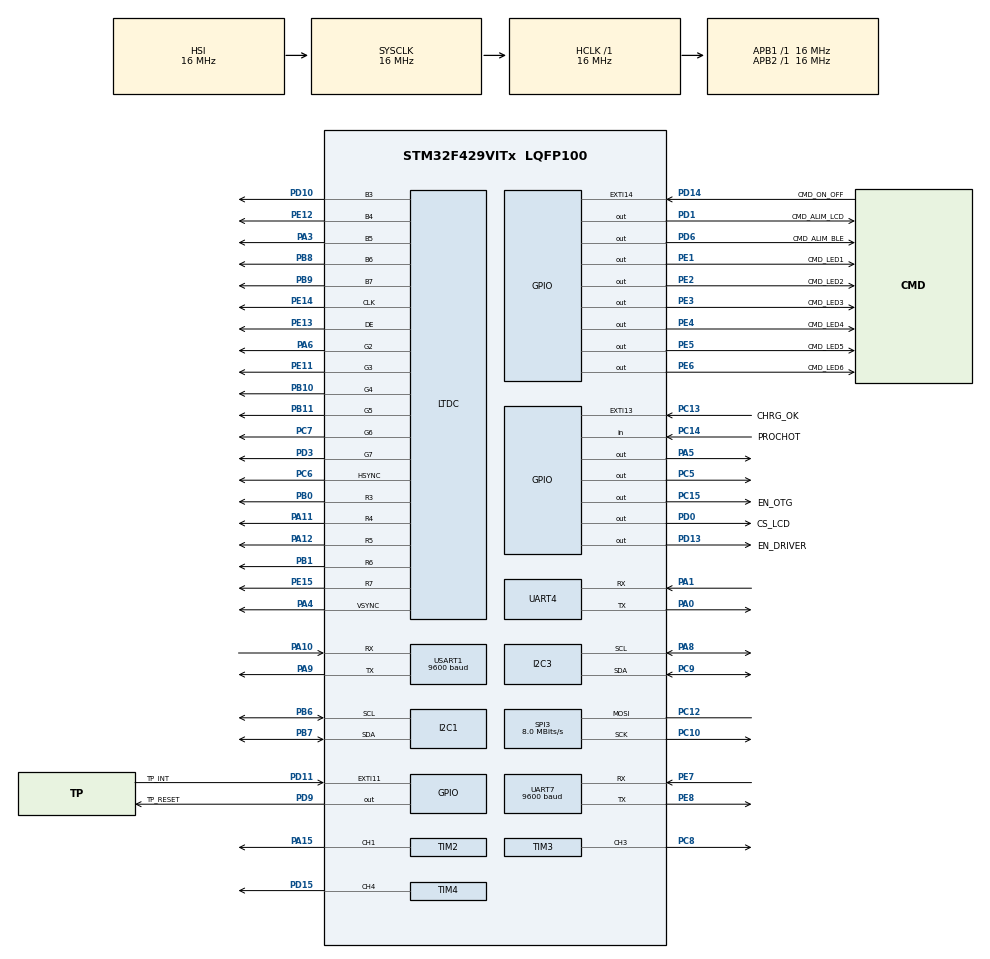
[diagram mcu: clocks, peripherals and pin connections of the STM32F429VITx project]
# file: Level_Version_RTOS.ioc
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DMA2D.ColorMode=DMA2D_OUTPUT_RGB565
FREERTOS.Tasks01=defaultTask,0,2048,StartDefaultTask,Default,NULL,Dynamic,NULL,NULL
LTDC.ActiveH=320
LTDC.ActiveW=240
LTDC.Alpha0_L0=255
LTDC.Alpha_L0=255
LTDC.FBStartAdress_L0=0x00000000
LTDC.HBP=10
LTDC.HFP=20
LTDC.HSync=10
LTDC.ImageHeight_L0=320
LTDC.ImageWidth_L0=240
LTDC.Layers=0
LTDC.PixelFormat_L0=LTDC_PIXEL_FORMAT_RGB565
LTDC.VBP=2
LTDC.VFP=4
LTDC.VSync=2
LTDC.WindowX1_L0=240
LTDC.WindowY1_L0=320
Mcu.Family=STM32F4
Mcu.Name=STM32F429VITx
Mcu.Package=LQFP100
NVIC.DMA2D_IRQn=true\:5\:0\:false\:false\:true\:true\:true\:true
NVIC.EXTI15_10_IRQn=true\:5\:0\:false\:false\:true\:true\:true\:true
NVIC.LTDC_IRQn=true\:5\:0\:false\:false\:true\:true\:true\:true
NVIC.PriorityGroup=NVIC_PRIORITYGROUP_4
NVIC.TIM1_UP_TIM10_IRQn=true\:0\:0\:false\:false\:true\:false\:false\:true
NVIC.TimeBase=TIM1_UP_TIM10_IRQn
NVIC.TimeBaseIP=TIM1
NVIC.UART7_IRQn=true\:5\:0\:false\:false\:true\:true\:true\:true
NVIC.USART1_IRQn=true\:5\:0\:false\:false\:true\:true\:true\:true
PA0/WKUP.Mode=Asynchronous
PA0/WKUP.Signal=UART4_TX
PA1.Mode=Asynchronous
PA1.Signal=UART4_RX
PA10.Mode=Asynchronous
PA10.Signal=USART1_RX
PA11.Mode=RGB565
PA11.Signal=LTDC_R4
PA12.Mode=RGB565
PA12.Signal=LTDC_R5
PA15.Signal=S_TIM2_CH1_ETR
PA3.Mode=RGB565
PA3.Signal=LTDC_B5
PA4.Mode=RGB565
PA4.Signal=LTDC_VSYNC
PA5.Signal=GPIO_Output
PA6.Mode=RGB565
PA6.Signal=LTDC_G2
PA8.Mode=I2C
PA8.Signal=I2C3_SCL
PA9.Mode=Asynchronous
PA9.Signal=USART1_TX
PB0.Mode=RGB565
PB0.Signal=LTDC_R3
PB1.Mode=RGB565
PB1.Signal=LTDC_R6
PB10.Mode=RGB565
PB10.Signal=LTDC_G4
PB11.Mode=RGB565
PB11.Signal=LTDC_G5
PB6.Mode=I2C
PB6.Signal=I2C1_SCL
PB7.Mode=I2C
PB7.Signal=I2C1_SDA
PB8.Mode=RGB565
PB8.Signal=LTDC_B6
PB9.Mode=RGB565
PB9.Signal=LTDC_B7
PC10.Mode=Simplex_Bidirectional_Master
PC10.Signal=SPI3_SCK
PC12.Mode=Simplex_Bidirectional_Master
PC12.Signal=SPI3_MOSI
PC13.GPIO_Label=CHRG_OK
PC13.Signal=GPXTI13
PC14/OSC32_IN.GPIO_Label=PROCHOT
PC14/OSC32_IN.Signal=GPIO_Input
PC15/OSC32_OUT.GPIO_Label=EN_OTG
PC15/OSC32_OUT.Signal=GPIO_Output
PC5.Signal=GPIO_Output
PC6.Mode=RGB565
PC6.Signal=LTDC_HSYNC
PC7.Mode=RGB565
PC7.Signal=LTDC_G6
PC8.Signal=S_TIM3_CH3
PC9.Mode=I2C
PC9.Signal=I2C3_SDA
PD0.GPIO_Label=CS_LCD
PD0.Signal=GPIO_Output
PD1.GPIO_Label=CMD_ALIM_LCD
PD1.Signal=GPIO_Output
PD10.Mode=RGB565
PD10.Signal=LTDC_B3
PD11.GPIO_Label=TP_INT
PD11.Signal=GPXTI11
PD13.GPIO_Label=EN_DRIVER
PD13.Signal=GPIO_Output
PD14.GPIO_Label=CMD_ON_OFF
PD14.GPIO_ModeDefaultEXTI=GPIO_MODE_IT_RISING_FALLING
PD14.Signal=GPXTI14
PD15.Signal=S_TIM4_CH4
PD3.Mode=RGB565
PD3.Signal=LTDC_G7
PD6.GPIO_Label=CMD_ALIM_BLE
PD6.Signal=GPIO_Output
PD9.GPIO_Label=TP_RESET
PD9.Signal=GPIO_Output
PE1.GPIO_Label=CMD_LED1
PE1.Signal=GPIO_Output
PE11.Mode=RGB565
PE11.Signal=LTDC_G3
PE12.Mode=RGB565
PE12.Signal=LTDC_B4
PE13.Mode=RGB565
PE13.Signal=LTDC_DE
PE14.Mode=RGB565
PE14.Signal=LTDC_CLK
PE15.Mode=RGB565
PE15.Signal=LTDC_R7
PE2.GPIO_Label=CMD_LED2
PE2.Signal=GPIO_Output
PE3.GPIO_Label=CMD_LED3
PE3.Signal=GPIO_Output
PE4.GPIO_Label=CMD_LED4
PE4.Signal=GPIO_Output
PE5.GPIO_Label=CMD_LED5
PE5.Signal=GPIO_Output
PE6.GPIO_Label=CMD_LED6
PE6.Signal=GPIO_Output
PE7.Mode=Asynchronous
PE7.Signal=UART7_RX
PE8.Mode=Asynchronous
PE8.Signal=UART7_TX
PH0/OSC_IN.Mode=HSE-External-Oscillator
PH0/OSC_IN.Signal=RCC_OSC_IN
PH1/OSC_OUT.Mode=HSE-External-Oscillator
PH1/OSC_OUT.Signal=RCC_OSC_OUT
ProjectManager.HeapSize=0x200
ProjectManager.StackSize=0x400
ProjectManager.TargetToolchain=STM32CubeIDE
RCC.48MHZClocksFreq_Value=96000000
RCC.AHBFreq_Value=16000000
RCC.APB1Freq_Value=16000000
RCC.APB2Freq_Value=16000000
RCC.CortexFreq_Value=16000000
RCC.HSE_VALUE=25000000
RCC.HSI_VALUE=16000000
RCC.LSE_VALUE=32768
RCC.PLLM=8
RCC.PLLSAIN=60
RCC.PLLSAIR=5
RCC.SYSCLKFreq_VALUE=16000000
RCC.VCOOutputFreq_Value=384000000
SH.S_TIM2_CH1_ETR.0=TIM2_CH1,PWM Generation1 CH1
SH.S_TIM3_CH3.0=TIM3_CH3,PWM Generation3 CH3
SH.S_TIM4_CH4.0=TIM4_CH4,PWM Generation4 CH4
SPI3.CalculateBaudRate=8.0 MBits/s
SPI3.Direction=SPI_DIRECTION_1LINE
SPI3.Mode=SPI_MODE_MASTER
SPI3.VirtualType=VM_MASTER
STMicroelectronics.X-CUBE-TOUCHGFX.4.13.0.ApplicationCcGraphicsJjApplication=TouchGFXOoGenerator
STMicroelectronics.X-CUBE-TOUCHGFX.4.13.0.tgfx_buffering_strategy=Single
STMicroelectronics.X-CUBE-TOUCHGFX.4.13.0.tgfx_display_interface=disp_ltdc
STMicroelectronics.X-CUBE-TOUCHGFX.4.13.0.tgfx_hardware_accelerator=dma_2d
STMicroelectronics.X-CUBE-TOUCHGFX.4.13.0.tgfx_location=Allocate
STMicroelectronics.X-CUBE-TOUCHGFX.4.13.0.tgfx_oswrapper=CMSIS V1
STMicroelectronics.X-CUBE-TOUCHGFX.4.13.0.tgfx_vsync=vsync_ltdc
TIM2.Channel-PWM\ Generation1\ CH1=TIM_CHANNEL_1
TIM2.Period=100
TIM2.Prescaler=119
TIM3.Channel-PWM\ Generation3\ CH3=TIM_CHANNEL_3
TIM3.Period=100
TIM3.Prescaler=119
TIM3.Pulse-PWM\ Generation3\ CH3=50
TIM4.Channel-PWM\ Generation4\ CH4=TIM_CHANNEL_4
TIM4.Period=100
TIM4.Prescaler=119
UART4.VirtualMode=Asynchronous
UART7.BaudRate=9600
UART7.VirtualMode=Asynchronous
USART1.BaudRate=9600
USART1.Parity=PARITY_NONE
USART1.VirtualMode=VM_ASYNC
USART1.WordLength=WORDLENGTH_8B
VP_CRC_VS_CRC.Mode=CRC_Activate
VP_DMA2D_VS_DMA2D.Mode=DMA2D_Activate
VP_FREERTOS_VS_CMSIS_V1.Mode=CMSIS_V1
VP_STMicroelectronics.X-CUBE-TOUCHGFX_VS_GraphicsJjApplication_4.13.0.Mode=GraphicsJjApplication
VP_SYS_VS_tim1.Mode=TIM1
board=custom

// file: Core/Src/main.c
/* USER CODE BEGIN Header */
/**
  ******************************************************************************
  * @file           : main.c
  * @brief          : Main program body
  ******************************************************************************
  * @attention
  *
  * <h2><center>&copy; Copyright (c) 2020 STMicroelectronics.
  * All rights reserved.</center></h2>
  *
  * This software component is licensed by ST under BSD 3-Clause license,
  * the "License"; You may not use this file except in compliance with the
  * License. You may obtain a copy of the License at:
  *                        opensource.org/licenses/BSD-3-Clause
  *
  ******************************************************************************
  */
/* USER CODE END Header */

#include "main.h"
#include "cmsis_os.h"
#include "app_touchgfx.h"

/* USER CODE BEGIN Includes */
#include "uart_task.h"
#include "lexilight.h"
#include "bq25713.h"
/* USER CODE END Includes */

CRC_HandleTypeDef hcrc;

DMA2D_HandleTypeDef hdma2d;

I2C_HandleTypeDef hi2c1;
I2C_HandleTypeDef hi2c3;

LTDC_HandleTypeDef hltdc;

SPI_HandleTypeDef hspi3;

TIM_HandleTypeDef htim2;
TIM_HandleTypeDef htim3;
TIM_HandleTypeDef htim4;

UART_HandleTypeDef huart4;
UART_HandleTypeDef huart7;
UART_HandleTypeDef huart1;

osThreadId defaultTaskHandle;
/* USER CODE BEGIN PV */
osThreadId secondTaskHandle;
/* USER CODE END PV */

void SystemClock_Config(void);
static void MX_GPIO_Init(void);
static void MX_DMA2D_Init(void);
static void MX_LTDC_Init(void);
static void MX_SPI3_Init(void);
static void MX_I2C3_Init(void);
static void MX_TIM3_Init(void);
static void MX_CRC_Init(void);
static void MX_TIM4_Init(void);
static void MX_TIM2_Init(void);
static void MX_I2C1_Init(void);
static void MX_UART4_Init(void);
static void MX_UART7_Init(void);
static void MX_USART1_UART_Init(void);
void StartDefaultTask(void const * argument);

/* USER CODE BEGIN PFP */
void StartSecondTask(void const * argument);
void writeReg(uint8_t);
void writeData(uint8_t);
uint16_t value_update = 0;
uint16_t count = 0;
/* USER CODE END PFP */

/* USER CODE BEGIN 0 */

UART_DATA Uart_data;

void HAL_UART_RxCpltCallback(UART_HandleTypeDef *huart)
{
	if (huart->Instance == USART1)  //current UART
	{
		uint8_t i;
		if (Uart_data.Rx_indx == 0)  //clear Rx_Buffer before receiving new data
		{
			for (i=0 ; i<100 ; i++) {
				Uart_data.Rx_Buffer[i]=0;
			}
		}

		if ((Uart_data.Rx_data[0]!=13)&&(Uart_data.Rx_data[0]!=10)) //if received data different from ascii 13 (enter)
		//if (Uart_data.Rx_data[0]!=0)
		{
			Uart_data.Rx_Buffer[Uart_data.Rx_indx]=Uart_data.Rx_data[0];    //add data to Rx_Buffer
			Uart_data.Rx_indx++;
		}
		else            //if received data = 13
		{
			Uart_data.Rx_indx=0;
			Uart_data.Transfer_cplt=true;//transfer complete, data is ready to read
			UART_Task();
		}
		HAL_UART_Receive_IT(&huart1, Uart_data.Rx_data, 1);   //activate UART receive interrupt every time
	}
}

void HAL_GPIO_EXTI_Callback (uint16_t GPIO_Pin){
	if ( GPIO_Pin == TP_INT_Pin){
		Ft6236_Read();	//Read Value From Touch Screen
	}
	//Check Charge Current
	if ( GPIO_Pin == CHRG_OK_Pin){
		if (HAL_GPIO_ReadPin(GPIOC, GPIO_PIN_13) == GPIO_PIN_SET){
			BQ25713_Default_Charge();
		}
	}
	if ( GPIO_Pin == CMD_ON_OFF_Pin){
		if(HAL_GPIO_ReadPin(CMD_ON_OFF_GPIO_Port, CMD_ON_OFF_Pin) == GPIO_PIN_RESET){
			value_update = 1;
			Lexi_Set_State_OFF();
			//Turn off bluetooth
			//HAL_GPIO_WritePin(CMD_ALIM_BLE_GPIO_Port, CMD_ALIM_BLE_Pin , GPIO_PIN_SET);
			__HAL_TIM_SET_COMPARE(&htim4 , TIM_CHANNEL_4,0);
			//Turn off screen

		}
		else
		{
			value_update = 0;
			Lexi_Set_State_ON();
			//Turn on bluetooth
			//HAL_GPIO_WritePin(CMD_ALIM_BLE_GPIO_Port, CMD_ALIM_BLE_Pin ,GPIO_PIN_RESET);
			__HAL_TIM_SET_COMPARE(&htim4 , TIM_CHANNEL_4,100);
			//Turn on screen
		}
	}
}

/* USER CODE END 0 */

int main(void)
{

  /* MCU Configuration--------------------------------------------------------*/

  /* Reset of all peripherals, Initializes the Flash interface and the Systick. */
  HAL_Init();

  /* Configure the system clock */
  SystemClock_Config();

  /* Initialize all configured peripherals */
  MX_GPIO_Init();
  MX_DMA2D_Init();
  MX_LTDC_Init();
  MX_SPI3_Init();
  MX_I2C3_Init();
  MX_TIM3_Init();
  MX_CRC_Init();
  MX_TIM4_Init();
  MX_TIM2_Init();
  MX_I2C1_Init();
  MX_UART4_Init();
  MX_UART7_Init();
  MX_USART1_UART_Init();
  MX_TouchGFX_Init();
  /* USER CODE BEGIN 2 */
  Lexi_Init_Data();								//Init Data LexiLight

  HAL_TIM_PWM_Start(&htim2, TIM_CHANNEL_1);		//Start PWM TIM2 Channel 1 -- LED LAMPE
  HAL_TIM_PWM_Start(&htim3, TIM_CHANNEL_3);		//Start PWM TIM3 Channel 3 -- LED DRIVER
  HAL_TIM_PWM_Start(&htim4, TIM_CHANNEL_4);		//Start PWM TIM4 Channel 1 -- LED BACKLIGHT

  __HAL_TIM_SET_COMPARE(&htim3 , TIM_CHANNEL_3,20);	//Set Duty = 0
  __HAL_TIM_SET_COMPARE(&htim4 , TIM_CHANNEL_4,100);	//Set Duty = 0
  __HAL_TIM_SET_COMPARE(&htim2 , TIM_CHANNEL_1,10);	//Set Duty = 0

  HAL_GPIO_WritePin(GPIOA, GPIO_PIN_0,GPIO_PIN_SET);
  HAL_GPIO_WritePin(GPIOD, GPIO_PIN_1, GPIO_PIN_RESET);

  HAL_GPIO_WritePin(GPIOA, GPIO_PIN_5,GPIO_PIN_RESET);

  Ft6236_Init(hi2c3);	//Tactile
  HAL_GPIO_WritePin(CMD_ALIM_BLE_GPIO_Port, CMD_ALIM_BLE_Pin ,GPIO_PIN_RESET);
  HAL_UART_Receive_IT(&huart1, Uart_data.Rx_data, 1);
  UART_Init();
  BQ25713_Init( hi2c1);
  //HAL_GPIO_WritePin(GPIOD, GPIO_PIN_1, GPIO_PIN_RESET);
  /* USER CODE END 2 */

  /* Create the thread(s) */
  /* definition and creation of defaultTask */
  osThreadDef(defaultTask, StartDefaultTask, osPriorityNormal, 0, 2048);
  defaultTaskHandle = osThreadCreate(osThread(defaultTask), NULL);

  /* USER CODE BEGIN RTOS_THREADS */
  osThreadDef(secondTask, StartSecondTask, osPriorityNormal, 0, 512);
  secondTaskHandle = osThreadCreate(osThread(secondTask), NULL);
  /* add threads, ... */
  /* USER CODE END RTOS_THREADS */

  /* Start scheduler */
  osKernelStart();

  /* We should never get here as control is now taken by the scheduler */

  /* Infinite loop */
  /* USER CODE BEGIN WHILE */
  uint8_t count_1 =0;
  while (1)
  {
	  Lexi_Task (htim2, htim3);	//Led
	  //HAL_Delay(50);
	  count_1 ++;
	  if (count_1 > 15){
		  BQ25713_Task();
		  count_1 = 0;
	  }
    /* USER CODE END WHILE */

  }
}

void SystemClock_Config(void)
{
  RCC_OscInitTypeDef RCC_OscInitStruct = {0};
  RCC_ClkInitTypeDef RCC_ClkInitStruct = {0};
  RCC_PeriphCLKInitTypeDef PeriphClkInitStruct = {0};

  /** Macro to configure the PLL multiplication factor
  */
  __HAL_RCC_PLL_PLLM_CONFIG(8);
  /** Macro to configure the PLL clock source
  */
  __HAL_RCC_PLL_PLLSOURCE_CONFIG(RCC_PLLSOURCE_HSI);
  /** Configure the main internal regulator output voltage
  */
  __HAL_RCC_PWR_CLK_ENABLE();
  __HAL_PWR_VOLTAGESCALING_CONFIG(PWR_REGULATOR_VOLTAGE_SCALE3);
  /** Initializes the CPU, AHB and APB busses clocks
  */
  RCC_OscInitStruct.OscillatorType = RCC_OSCILLATORTYPE_HSI;
  RCC_OscInitStruct.HSIState = RCC_HSI_ON;
  RCC_OscInitStruct.HSICalibrationValue = RCC_HSICALIBRATION_DEFAULT;
  RCC_OscInitStruct.PLL.PLLState = RCC_PLL_NONE;
  RCC_OscInitStruct.PLL.PLLSource = RCC_PLLSOURCE_HSI;
  if (HAL_RCC_OscConfig(&RCC_OscInitStruct) != HAL_OK)
  {
    Error_Handler();
  }
  /** Initializes the CPU, AHB and APB busses clocks
  */
  RCC_ClkInitStruct.ClockType = RCC_CLOCKTYPE_HCLK|RCC_CLOCKTYPE_SYSCLK
                              |RCC_CLOCKTYPE_PCLK1|RCC_CLOCKTYPE_PCLK2;
  RCC_ClkInitStruct.SYSCLKSource = RCC_SYSCLKSOURCE_HSI;
  RCC_ClkInitStruct.AHBCLKDivider = RCC_SYSCLK_DIV1;
  RCC_ClkInitStruct.APB1CLKDivider = RCC_HCLK_DIV1;
  RCC_ClkInitStruct.APB2CLKDivider = RCC_HCLK_DIV1;

  if (HAL_RCC_ClockConfig(&RCC_ClkInitStruct, FLASH_LATENCY_0) != HAL_OK)
  {
    Error_Handler();
  }
  PeriphClkInitStruct.PeriphClockSelection = RCC_PERIPHCLK_LTDC;
  PeriphClkInitStruct.PLLSAI.PLLSAIN = 60;
  PeriphClkInitStruct.PLLSAI.PLLSAIR = 5;
  PeriphClkInitStruct.PLLSAIDivR = RCC_PLLSAIDIVR_2;
  if (HAL_RCCEx_PeriphCLKConfig(&PeriphClkInitStruct) != HAL_OK)
  {
    Error_Handler();
  }
}

static void MX_CRC_Init(void)
{

  hcrc.Instance = CRC;
  if (HAL_CRC_Init(&hcrc) != HAL_OK)
  {
    Error_Handler();
  }

}

static void MX_DMA2D_Init(void)
{

  hdma2d.Instance = DMA2D;
  hdma2d.Init.Mode = DMA2D_M2M;
  hdma2d.Init.ColorMode = DMA2D_OUTPUT_RGB565;
  hdma2d.Init.OutputOffset = 0;
  hdma2d.LayerCfg[1].InputOffset = 0;
  hdma2d.LayerCfg[1].InputColorMode = DMA2D_INPUT_RGB565;
  hdma2d.LayerCfg[1].AlphaMode = DMA2D_NO_MODIF_ALPHA;
  hdma2d.LayerCfg[1].InputAlpha = 0;
  if (HAL_DMA2D_Init(&hdma2d) != HAL_OK)
  {
    Error_Handler();
  }
  if (HAL_DMA2D_ConfigLayer(&hdma2d, 1) != HAL_OK)
  {
    Error_Handler();
  }

}

static void MX_I2C1_Init(void)
{

  hi2c1.Instance = I2C1;
  hi2c1.Init.ClockSpeed = 100000;
  hi2c1.Init.DutyCycle = I2C_DUTYCYCLE_2;
  hi2c1.Init.OwnAddress1 = 0;
  hi2c1.Init.AddressingMode = I2C_ADDRESSINGMODE_7BIT;
  hi2c1.Init.DualAddressMode = I2C_DUALADDRESS_DISABLE;
  hi2c1.Init.OwnAddress2 = 0;
  hi2c1.Init.GeneralCallMode = I2C_GENERALCALL_DISABLE;
  hi2c1.Init.NoStretchMode = I2C_NOSTRETCH_DISABLE;
  if (HAL_I2C_Init(&hi2c1) != HAL_OK)
  {
    Error_Handler();
  }
  /** Configure Analogue filter
  */
  if (HAL_I2CEx_ConfigAnalogFilter(&hi2c1, I2C_ANALOGFILTER_ENABLE) != HAL_OK)
  {
    Error_Handler();
  }
  /** Configure Digital filter
  */
  if (HAL_I2CEx_ConfigDigitalFilter(&hi2c1, 0) != HAL_OK)
  {
    Error_Handler();
  }

}

static void MX_I2C3_Init(void)
{

  hi2c3.Instance = I2C3;
  hi2c3.Init.ClockSpeed = 100000;
  hi2c3.Init.DutyCycle = I2C_DUTYCYCLE_2;
  hi2c3.Init.OwnAddress1 = 0;
  hi2c3.Init.AddressingMode = I2C_ADDRESSINGMODE_7BIT;
  hi2c3.Init.DualAddressMode = I2C_DUALADDRESS_DISABLE;
  hi2c3.Init.OwnAddress2 = 0;
  hi2c3.Init.GeneralCallMode = I2C_GENERALCALL_DISABLE;
  hi2c3.Init.NoStretchMode = I2C_NOSTRETCH_DISABLE;
  if (HAL_I2C_Init(&hi2c3) != HAL_OK)
  {
    Error_Handler();
  }
  /** Configure Analogue filter
  */
  if (HAL_I2CEx_ConfigAnalogFilter(&hi2c3, I2C_ANALOGFILTER_ENABLE) != HAL_OK)
  {
    Error_Handler();
  }
  /** Configure Digital filter
  */
  if (HAL_I2CEx_ConfigDigitalFilter(&hi2c3, 0) != HAL_OK)
  {
    Error_Handler();
  }

}

static void MX_LTDC_Init(void)
{

  LTDC_LayerCfgTypeDef pLayerCfg = {0};

  hltdc.Instance = LTDC;
  hltdc.Init.HSPolarity = LTDC_HSPOLARITY_AL;
  hltdc.Init.VSPolarity = LTDC_VSPOLARITY_AL;
  hltdc.Init.DEPolarity = LTDC_DEPOLARITY_AL;
  hltdc.Init.PCPolarity = LTDC_PCPOLARITY_IPC;
  hltdc.Init.HorizontalSync = 9;
  hltdc.Init.VerticalSync = 1;
  hltdc.Init.AccumulatedHBP = 19;
  hltdc.Init.AccumulatedVBP = 3;
  hltdc.Init.AccumulatedActiveW = 259;
  hltdc.Init.AccumulatedActiveH = 323;
  hltdc.Init.TotalWidth = 279;
  hltdc.Init.TotalHeigh = 327;
  hltdc.Init.Backcolor.Blue = 0;
  hltdc.Init.Backcolor.Green = 0;
  hltdc.Init.Backcolor.Red = 0;
  if (HAL_LTDC_Init(&hltdc) != HAL_OK)
  {
    Error_Handler();
  }
  pLayerCfg.WindowX0 = 0;
  pLayerCfg.WindowX1 = 240;
  pLayerCfg.WindowY0 = 0;
  pLayerCfg.WindowY1 = 320;
  pLayerCfg.PixelFormat = LTDC_PIXEL_FORMAT_RGB565;
  pLayerCfg.Alpha = 255;
  pLayerCfg.Alpha0 = 255;
  pLayerCfg.BlendingFactor1 = LTDC_BLENDING_FACTOR1_CA;
  pLayerCfg.BlendingFactor2 = LTDC_BLENDING_FACTOR2_CA;
  pLayerCfg.FBStartAdress = 0x00000000;
  pLayerCfg.ImageWidth = 240;
  pLayerCfg.ImageHeight = 320;
  pLayerCfg.Backcolor.Blue = 0;
  pLayerCfg.Backcolor.Green = 0;
  pLayerCfg.Backcolor.Red = 0;
  if (HAL_LTDC_ConfigLayer(&hltdc, &pLayerCfg, 0) != HAL_OK)
  {
    Error_Handler();
  }

}

static void MX_SPI3_Init(void)
{

  /* SPI3 parameter configuration*/
  hspi3.Instance = SPI3;
  hspi3.Init.Mode = SPI_MODE_MASTER;
  hspi3.Init.Direction = SPI_DIRECTION_1LINE;
  hspi3.Init.DataSize = SPI_DATASIZE_8BIT;
  hspi3.Init.CLKPolarity = SPI_POLARITY_LOW;
  hspi3.Init.CLKPhase = SPI_PHASE_1EDGE;
  hspi3.Init.NSS = SPI_NSS_SOFT;
  hspi3.Init.BaudRatePrescaler = SPI_BAUDRATEPRESCALER_2;
  hspi3.Init.FirstBit = SPI_FIRSTBIT_MSB;
  hspi3.Init.TIMode = SPI_TIMODE_DISABLE;
  hspi3.Init.CRCCalculation = SPI_CRCCALCULATION_DISABLE;
  hspi3.Init.CRCPolynomial = 10;
  if (HAL_SPI_Init(&hspi3) != HAL_OK)
  {
    Error_Handler();
  }
  /* USER CODE BEGIN SPI3_Init 2 */

  writeReg(0x10); //Sleep IN
  HAL_Delay(200);
  writeReg(0x01); //SW Reset
  HAL_Delay(200);

  writeReg(0x11);//Sleep Out
  HAL_Delay(200);

  writeReg(0x29); //Display on

  writeReg(0x36);	//Memory Data Access Control
  writeData(0x54);

  writeReg(0x3A);	// SPI 4 wire 16 bit color
  writeData (0x05); //  #05

  writeReg(0xB0);	//Ram Control
  writeData (0x11);//
  writeData (0xC8);

  writeReg(0xB1);
  writeData (0xC2);//
  writeData (0xFF);
  writeData (0xFF);

  writeReg(0x0B);
  writeData(0x00);

  writeReg(0x20);	//Inversion Color OFF
  writeReg(0x21);	//Inversion Color ON
  //--------------------------------ST7789V Frame rate setting----------------------------------//

  writeReg(0xB2);
  writeData (0x0C);
  writeData (0x0C);
  writeData (0x00);
  writeData (0x33);
  writeData (0x33);

  writeReg(0xB7);
  writeData (0x35);

  //---------------------------------ST7789V Power setting--------------------------------------//

  writeReg(0xBB);
  writeData (0x2b);

  writeReg(0xC0);
  writeData (0x2C);

  writeReg(0xC2);
  writeData (0x01);

  writeReg(0xC3);
  writeData (0x17);

  writeReg(0xC4);
  writeData (0x20);

  writeReg(0xC6);
  writeData (0x0A);

  writeReg(0xD0);
  writeData (0xA4);
  writeData (0xA1);

  //--------------------------------ST7789S gamma setting---------------------------------------//

  writeReg(0xE0);
  writeData (0xD0);
  writeData (0x0F);
  writeData (0x17);
  writeData (0x0D);
  writeData (0x0E);
  writeData (0x02);
  writeData (0x3D);
  writeData (0x44);
  writeData (0x4E);
  writeData (0x0C);
  writeData (0x1B);
  writeData (0x1B);
  writeData (0x1C);
  writeData (0x1F);

  writeReg(0xE1);
  writeData (0xD0);
  writeData (0x0F);
  writeData (0x17);
  writeData (0x0D);
  writeData (0x0E);
  writeData (0x02);
  writeData (0x3D);
  writeData (0x44);
  writeData (0x4E);
  writeData (0x0C);
  writeData (0x1B);
  writeData (0x1B);
  writeData (0x1C);
  writeData (0x1F);

  writeReg(0x29);

  /* USER CODE END SPI3_Init 2 */

}

static void MX_TIM2_Init(void)
{

  TIM_MasterConfigTypeDef sMasterConfig = {0};
  TIM_OC_InitTypeDef sConfigOC = {0};

  htim2.Instance = TIM2;
  htim2.Init.Prescaler = 119;
  htim2.Init.CounterMode = TIM_COUNTERMODE_UP;
  htim2.Init.Period = 100;
  htim2.Init.ClockDivision = TIM_CLOCKDIVISION_DIV1;
  htim2.Init.AutoReloadPreload = TIM_AUTORELOAD_PRELOAD_DISABLE;
  if (HAL_TIM_PWM_Init(&htim2) != HAL_OK)
  {
    Error_Handler();
  }
  sMasterConfig.MasterOutputTrigger = TIM_TRGO_RESET;
  sMasterConfig.MasterSlaveMode = TIM_MASTERSLAVEMODE_DISABLE;
  if (HAL_TIMEx_MasterConfigSynchronization(&htim2, &sMasterConfig) != HAL_OK)
  {
    Error_Handler();
  }
  sConfigOC.OCMode = TIM_OCMODE_PWM1;
  sConfigOC.Pulse = 0;
  sConfigOC.OCPolarity = TIM_OCPOLARITY_HIGH;
  sConfigOC.OCFastMode = TIM_OCFAST_DISABLE;
  if (HAL_TIM_PWM_ConfigChannel(&htim2, &sConfigOC, TIM_CHANNEL_1) != HAL_OK)
  {
    Error_Handler();
  }
  HAL_TIM_MspPostInit(&htim2);

}

static void MX_TIM3_Init(void)
{

  TIM_MasterConfigTypeDef sMasterConfig = {0};
  TIM_OC_InitTypeDef sConfigOC = {0};

  htim3.Instance = TIM3;
  htim3.Init.Prescaler = 119;
  htim3.Init.CounterMode = TIM_COUNTERMODE_UP;
  htim3.Init.Period = 100;
  htim3.Init.ClockDivision = TIM_CLOCKDIVISION_DIV1;
  htim3.Init.AutoReloadPreload = TIM_AUTORELOAD_PRELOAD_DISABLE;
  if (HAL_TIM_PWM_Init(&htim3) != HAL_OK)
  {
    Error_Handler();
  }
  sMasterConfig.MasterOutputTrigger = TIM_TRGO_RESET;
  sMasterConfig.MasterSlaveMode = TIM_MASTERSLAVEMODE_DISABLE;
  if (HAL_TIMEx_MasterConfigSynchronization(&htim3, &sMasterConfig) != HAL_OK)
  {
    Error_Handler();
  }
  sConfigOC.OCMode = TIM_OCMODE_PWM1;
  sConfigOC.Pulse = 50;
  sConfigOC.OCPolarity = TIM_OCPOLARITY_HIGH;
  sConfigOC.OCFastMode = TIM_OCFAST_DISABLE;
  if (HAL_TIM_PWM_ConfigChannel(&htim3, &sConfigOC, TIM_CHANNEL_3) != HAL_OK)
  {
    Error_Handler();
  }
  HAL_TIM_MspPostInit(&htim3);

}

static void MX_TIM4_Init(void)
{

  TIM_MasterConfigTypeDef sMasterConfig = {0};
  TIM_OC_InitTypeDef sConfigOC = {0};

  htim4.Instance = TIM4;
  htim4.Init.Prescaler = 119;
  htim4.Init.CounterMode = TIM_COUNTERMODE_UP;
  htim4.Init.Period = 100;
  htim4.Init.ClockDivision = TIM_CLOCKDIVISION_DIV1;
  htim4.Init.AutoReloadPreload = TIM_AUTORELOAD_PRELOAD_DISABLE;
  if (HAL_TIM_PWM_Init(&htim4) != HAL_OK)
  {
    Error_Handler();
  }
  sMasterConfig.MasterOutputTrigger = TIM_TRGO_RESET;
  sMasterConfig.MasterSlaveMode = TIM_MASTERSLAVEMODE_DISABLE;
  if (HAL_TIMEx_MasterConfigSynchronization(&htim4, &sMasterConfig) != HAL_OK)
  {
    Error_Handler();
  }
  sConfigOC.OCMode = TIM_OCMODE_PWM1;
  sConfigOC.Pulse = 0;
  sConfigOC.OCPolarity = TIM_OCPOLARITY_HIGH;
  sConfigOC.OCFastMode = TIM_OCFAST_DISABLE;
  if (HAL_TIM_PWM_ConfigChannel(&htim4, &sConfigOC, TIM_CHANNEL_4) != HAL_OK)
  {
    Error_Handler();
  }
  HAL_TIM_MspPostInit(&htim4);

}

static void MX_UART4_Init(void)
{

  huart4.Instance = UART4;
  huart4.Init.BaudRate = 115200;
  huart4.Init.WordLength = UART_WORDLENGTH_8B;
  huart4.Init.StopBits = UART_STOPBITS_1;
  huart4.Init.Parity = UART_PARITY_NONE;
  huart4.Init.Mode = UART_MODE_TX_RX;
  huart4.Init.HwFlowCtl = UART_HWCONTROL_NONE;
  huart4.Init.OverSampling = UART_OVERSAMPLING_16;
  if (HAL_UART_Init(&huart4) != HAL_OK)
  {
    Error_Handler();
  }

}

static void MX_UART7_Init(void)
{

  huart7.Instance = UART7;
  huart7.Init.BaudRate = 9600;
  huart7.Init.WordLength = UART_WORDLENGTH_8B;
  huart7.Init.StopBits = UART_STOPBITS_1;
  huart7.Init.Parity = UART_PARITY_NONE;
  huart7.Init.Mode = UART_MODE_TX_RX;
  huart7.Init.HwFlowCtl = UART_HWCONTROL_NONE;
  huart7.Init.OverSampling = UART_OVERSAMPLING_16;
  if (HAL_UART_Init(&huart7) != HAL_OK)
  {
    Error_Handler();
  }

}

static void MX_USART1_UART_Init(void)
{

  huart1.Instance = USART1;
  huart1.Init.BaudRate = 9600;
  huart1.Init.WordLength = UART_WORDLENGTH_8B;
  huart1.Init.StopBits = UART_STOPBITS_1;
  huart1.Init.Parity = UART_PARITY_NONE;
  huart1.Init.Mode = UART_MODE_TX_RX;
  huart1.Init.HwFlowCtl = UART_HWCONTROL_NONE;
  huart1.Init.OverSampling = UART_OVERSAMPLING_16;
  if (HAL_UART_Init(&huart1) != HAL_OK)
  {
    Error_Handler();
  }

}

static void MX_GPIO_Init(void)
{
  GPIO_InitTypeDef GPIO_InitStruct = {0};

  /* GPIO Ports Clock Enable */
  __HAL_RCC_GPIOE_CLK_ENABLE();
  __HAL_RCC_GPIOC_CLK_ENABLE();
  __HAL_RCC_GPIOH_CLK_ENABLE();
  __HAL_RCC_GPIOA_CLK_ENABLE();
  __HAL_RCC_GPIOB_CLK_ENABLE();
  __HAL_RCC_GPIOD_CLK_ENABLE();

  /*Configure GPIO pin Output Level */
  HAL_GPIO_WritePin(GPIOE, CMD_LED2_Pin|CMD_LED3_Pin|CMD_LED4_Pin|CMD_LED5_Pin
                          |CMD_LED6_Pin|CMD_LED1_Pin, GPIO_PIN_RESET);

  /*Configure GPIO pin Output Level */
  HAL_GPIO_WritePin(GPIOC, EN_OTG_Pin|GPIO_PIN_5, GPIO_PIN_RESET);

  /*Configure GPIO pin Output Level */
  HAL_GPIO_WritePin(GPIOA, GPIO_PIN_5, GPIO_PIN_RESET);

  /*Configure GPIO pin Output Level */
  HAL_GPIO_WritePin(GPIOD, TP_RESET_Pin|EN_DRIVER_Pin|CS_LCD_Pin|CMD_ALIM_LCD_Pin
                          |CMD_ALIM_BLE_Pin, GPIO_PIN_RESET);

  /*Configure GPIO pins : CMD_LED2_Pin CMD_LED3_Pin CMD_LED4_Pin CMD_LED5_Pin
                           CMD_LED6_Pin CMD_LED1_Pin */
  GPIO_InitStruct.Pin = CMD_LED2_Pin|CMD_LED3_Pin|CMD_LED4_Pin|CMD_LED5_Pin
                          |CMD_LED6_Pin|CMD_LED1_Pin;
  GPIO_InitStruct.Mode = GPIO_MODE_OUTPUT_PP;
  GPIO_InitStruct.Pull = GPIO_NOPULL;
  GPIO_InitStruct.Speed = GPIO_SPEED_FREQ_LOW;
  HAL_GPIO_Init(GPIOE, &GPIO_InitStruct);

  /*Configure GPIO pin : CHRG_OK_Pin */
  GPIO_InitStruct.Pin = CHRG_OK_Pin;
  GPIO_InitStruct.Mode = GPIO_MODE_IT_RISING;
  GPIO_InitStruct.Pull = GPIO_NOPULL;
  HAL_GPIO_Init(CHRG_OK_GPIO_Port, &GPIO_InitStruct);

  /*Configure GPIO pin : PROCHOT_Pin */
  GPIO_InitStruct.Pin = PROCHOT_Pin;
  GPIO_InitStruct.Mode = GPIO_MODE_INPUT;
  GPIO_InitStruct.Pull = GPIO_NOPULL;
  HAL_GPIO_Init(PROCHOT_GPIO_Port, &GPIO_InitStruct);

  /*Configure GPIO pins : EN_OTG_Pin PC5 */
  GPIO_InitStruct.Pin = EN_OTG_Pin|GPIO_PIN_5;
  GPIO_InitStruct.Mode = GPIO_MODE_OUTPUT_PP;
  GPIO_InitStruct.Pull = GPIO_NOPULL;
  GPIO_InitStruct.Speed = GPIO_SPEED_FREQ_LOW;
  HAL_GPIO_Init(GPIOC, &GPIO_InitStruct);

  /*Configure GPIO pin : PA5 */
  GPIO_InitStruct.Pin = GPIO_PIN_5;
  GPIO_InitStruct.Mode = GPIO_MODE_OUTPUT_PP;
  GPIO_InitStruct.Pull = GPIO_NOPULL;
  GPIO_InitStruct.Speed = GPIO_SPEED_FREQ_LOW;
  HAL_GPIO_Init(GPIOA, &GPIO_InitStruct);

  /*Configure GPIO pins : TP_RESET_Pin EN_DRIVER_Pin CS_LCD_Pin CMD_ALIM_LCD_Pin
                           CMD_ALIM_BLE_Pin */
  GPIO_InitStruct.Pin = TP_RESET_Pin|EN_DRIVER_Pin|CS_LCD_Pin|CMD_ALIM_LCD_Pin
                          |CMD_ALIM_BLE_Pin;
  GPIO_InitStruct.Mode = GPIO_MODE_OUTPUT_PP;
  GPIO_InitStruct.Pull = GPIO_NOPULL;
  GPIO_InitStruct.Speed = GPIO_SPEED_FREQ_LOW;
  HAL_GPIO_Init(GPIOD, &GPIO_InitStruct);

  /*Configure GPIO pin : TP_INT_Pin */
  GPIO_InitStruct.Pin = TP_INT_Pin;
  GPIO_InitStruct.Mode = GPIO_MODE_IT_RISING;
  GPIO_InitStruct.Pull = GPIO_NOPULL;
  HAL_GPIO_Init(TP_INT_GPIO_Port, &GPIO_InitStruct);

  /*Configure GPIO pin : CMD_ON_OFF_Pin */
  GPIO_InitStruct.Pin = CMD_ON_OFF_Pin;
  GPIO_InitStruct.Mode = GPIO_MODE_IT_RISING_FALLING;
  GPIO_InitStruct.Pull = GPIO_NOPULL;
  HAL_GPIO_Init(CMD_ON_OFF_GPIO_Port, &GPIO_InitStruct);

  /* EXTI interrupt init*/
  HAL_NVIC_SetPriority(EXTI15_10_IRQn, 5, 0);
  HAL_NVIC_EnableIRQ(EXTI15_10_IRQn);

}

/* USER CODE BEGIN 4 */
void writeReg(uint8_t reg)
{
	HAL_GPIO_WritePin(GPIOC, GPIO_PIN_5, GPIO_PIN_RESET);
	HAL_GPIO_WritePin(GPIOD, GPIO_PIN_0, GPIO_PIN_RESET);
	HAL_SPI_Transmit(&hspi3, &reg, 1, 10);
	HAL_GPIO_WritePin(GPIOD, GPIO_PIN_0, GPIO_PIN_SET);
}

void writeData(uint8_t data)
{
	HAL_GPIO_WritePin(GPIOC, GPIO_PIN_5, GPIO_PIN_SET);
	HAL_GPIO_WritePin(GPIOD, GPIO_PIN_0, GPIO_PIN_RESET);
	HAL_SPI_Transmit(&hspi3, &data, 1, 10);
	HAL_GPIO_WritePin(GPIOD, GPIO_PIN_0, GPIO_PIN_SET);
}
void StartSecondTask(void const * argument)
{
	for(;;)
	{
		Lexi_Task (htim2, htim3);	//Led
		count++;
		if (count > 500){
			BQ25713_Task();
			count = 0;
		}
		osDelay(1);
	}
}
/* USER CODE END 4 */

void StartDefaultTask(void const * argument)
{
  /* USER CODE BEGIN 5 */
	MX_TouchGFX_Init();
	MX_TouchGFX_Process();
  /* Infinite loop */
  for(;;)
  {
    osDelay(1);
  }
  /* USER CODE END 5 */
}

void HAL_TIM_PeriodElapsedCallback(TIM_HandleTypeDef *htim)
{
  if (htim->Instance == TIM1) {
    HAL_IncTick();
  }
}

void Error_Handler(void)
{
}

/************************ (C) COPYRIGHT STMicroelectronics *****END OF FILE****/
